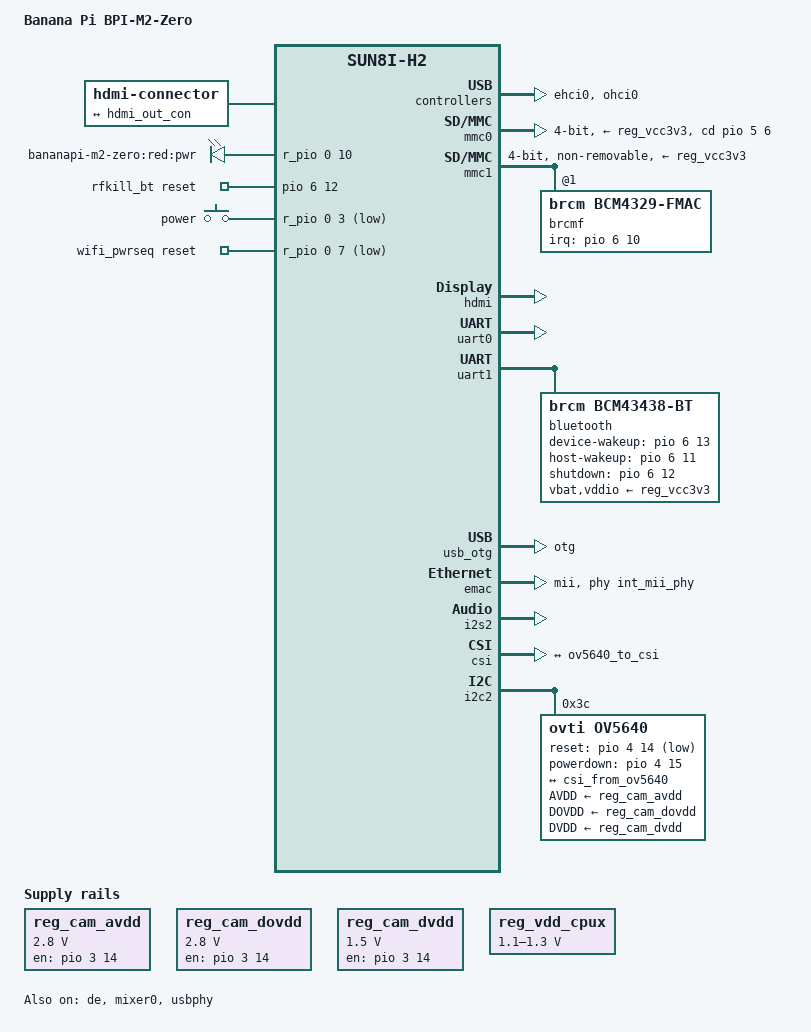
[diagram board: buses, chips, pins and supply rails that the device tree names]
// SPDX-License-Identifier: (GPL-2.0+ OR MIT)
/*
 * Copyright (C) 2017 Icenowy Zheng <icenowy@aosc.io>
 *
 * Based on sun8i-h3-bananapi-m2-plus.dts, which is:
 *   Copyright (C) 2016 Chen-Yu Tsai <wens@csie.org>
 */

/dts-v1/;
#include "sun8i-h3.dtsi"
#include "sunxi-common-regulators.dtsi"

#include <dt-bindings/gpio/gpio.h>
#include <dt-bindings/input/input.h>

/ {
	model = "Banana Pi BPI-M2-Zero";
	compatible = "sinovoip,bpi-m2-zero", "allwinner,sun8i-h2-plus";

	reg_cam_avdd: cam-avdd {
		compatible = "regulator-fixed";
		regulator-name = "csi-avdd";
		regulator-min-microvolt = <2800000>;
		regulator-max-microvolt = <2800000>;
		startup-delay-us = <200>; /* 50 us + board delays */
		enable-active-high;
		gpio = <&pio 3 14 GPIO_ACTIVE_HIGH>; /* PD14 */
	};

	reg_cam_dovdd: cam-dovdd {
		compatible = "regulator-fixed";
		regulator-name = "csi-dovdd";
		regulator-min-microvolt = <2800000>;
		regulator-max-microvolt = <2800000>;
		/*
		 * This regulator also powers the pull-ups for the I2C bus.
		 * For some reason, if this is turned off, subsequent use
		 * of the I2C bus, even when turned on, does not work.
		 */
		startup-delay-us = <200>; /* 50 us + board delays */
		regulator-always-on;
		enable-active-high;
		gpio = <&pio 3 14 GPIO_ACTIVE_HIGH>; /* PD14 */
	};

	reg_cam_dvdd: cam-dvdd {
		compatible = "regulator-fixed";
		regulator-name = "csi-dvdd";
		regulator-min-microvolt = <1500000>;
		regulator-max-microvolt = <1500000>;
		startup-delay-us = <200>; /* 50 us + board delays */
		enable-active-high;
		gpio = <&pio 3 14 GPIO_ACTIVE_HIGH>; /* PD14 */
	};

	aliases {
		serial0 = &uart0;
		serial1 = &uart1;
		ethernet0 = &emac;
	};

	chosen {
		stdout-path = "serial0:115200n8";
	};

	connector {
		compatible = "hdmi-connector";
		type = "a";

		port {
			hdmi_con_in: endpoint {
				remote-endpoint = <&hdmi_out_con>;
			};
		};
	};

	leds {
		compatible = "gpio-leds";

		pwr_led {
			label = "bananapi-m2-zero:red:pwr";
			gpios = <&r_pio 0 10 GPIO_ACTIVE_HIGH>; /* PL10 */
			linux,default-trigger = "heartbeat";
		};
	};

	rfkill_bt: rfkill_bt {
		compatible = "rfkill-gpio";
		pinctrl-names = "default";
		pinctrl-0 = <&bt_pwr_pin>;
		reset-gpios = <&pio 6 12 GPIO_ACTIVE_HIGH>; /* PG12 */
		clocks = <&osc32k>;
		clock-frequency = <32768>;
		rfkill-name = "sunxi-bt";
		rfkill-type = "bluetooth";
	};

	gpio_keys {
		compatible = "gpio-keys";

		sw4 {
			label = "power";
			linux,code = <BTN_0>;
			gpios = <&r_pio 0 3 GPIO_ACTIVE_LOW>;
		};
	};

	reg_vdd_cpux: vdd-cpux-regulator {
		compatible = "regulator-gpio";
		regulator-name = "vdd-cpux";
		regulator-type = "voltage";
		regulator-boot-on;
		regulator-always-on;
		regulator-min-microvolt = <1100000>;
		regulator-max-microvolt = <1300000>;
		regulator-ramp-delay = <50>; /* 4ms */

		gpios = <&r_pio 0 1 GPIO_ACTIVE_HIGH>; /* PL1 */
		enable-active-high;
		gpios-states = <0x1>;
		states = <1100000 0>, <1300000 1>;
	};

	wifi_pwrseq: wifi_pwrseq {
		compatible = "mmc-pwrseq-simple";
		reset-gpios = <&r_pio 0 7 GPIO_ACTIVE_LOW>; /* PL7 */
		clocks = <&rtc 1>;
		clock-names = "ext_clock";
	};
};

&pio {
	bt_pwr_pin: bt_pwr_pin {
		pins = "PG12";
		function = "gpio_out";
	};
};


&r_pio {
	wifi_en_pin: wifi_en_pin {
		pins = "PL7";
		function = "gpio_out";
	};
};

&cpu0 {
	cpu-supply = <&reg_vdd_cpux>;
};

&ehci0 {
	status = "okay";
};

&mmc0 {
	vmmc-supply = <&reg_vcc3v3>;
	bus-width = <4>;
	/*
	 * On the production batch of this board the card detect GPIO is
	 * high active (card inserted), although on the early samples it's
	 * low active.
	 */
	cd-gpios = <&pio 5 6 GPIO_ACTIVE_HIGH>; /* PF6 */
	status = "okay";
};

&mmc1 {
	vmmc-supply = <&reg_vcc3v3>;
	vqmmc-supply = <&reg_vcc3v3>;
	mmc-pwrseq = <&wifi_pwrseq>;
	bus-width = <4>;
	non-removable;
	status = "okay";

	brcmf: wifi@1 {
		reg = <1>;
		compatible = "brcm,bcm4329-fmac";
		interrupt-parent = <&pio>;
		interrupts = <6 10 IRQ_TYPE_LEVEL_LOW>; /* PG10 / EINT10 */
		interrupt-names = "host-wake";
	};
};

&de {
	status = "okay";
};

&hdmi {
	status = "okay";
};

&hdmi_out {
	hdmi_out_con: endpoint {
		remote-endpoint = <&hdmi_con_in>;
	};
};

&mixer0 {
	status = "okay";
};

&ohci0 {
	status = "okay";
};

&uart0 {
	pinctrl-names = "default";
	pinctrl-0 = <&uart0_pa_pins>;
	status = "okay";
};

&uart1 {
	pinctrl-names = "default";
	pinctrl-0 = <&uart1_pins>, <&uart1_rts_cts_pins>;
	uart-has-rtscts;
	status = "okay";

	bluetooth {
		compatible = "brcm,bcm43438-bt";
		clocks = <&rtc 1>;
		clock-names = "lpo";
		vbat-supply = <&reg_vcc3v3>;
		vddio-supply = <&reg_vcc3v3>;
		device-wakeup-gpios = <&pio 6 13 GPIO_ACTIVE_HIGH>; /* PG13 */
		host-wakeup-gpios = <&pio 6 11 GPIO_ACTIVE_HIGH>; /* PG11 */
		shutdown-gpios = <&pio 6 12 GPIO_ACTIVE_HIGH>; /* PG12 */
	};

};

&usb_otg {
	dr_mode = "otg";
	status = "okay";
};

&usbphy {
	usb0_id_det-gpios = <&r_pio 0 6 GPIO_ACTIVE_HIGH>; /* PL6 */
	/*
	 * There're two micro-USB connectors, one is power-only and another is
	 * OTG. The Vbus of these two connectors are connected together, so
	 * the external USB device will be powered just by the power input
	 * from the power-only USB port.
	 */
	status = "okay";
};


&emac {
	status = "okay";
	phy-handle = <&int_mii_phy>;
	phy-mode = "mii";
	allwinner,leds-active-low;
};

&i2s2 {
	status = "okay";
};

&csi {
	status = "okay";

	port {
		/* Parallel bus endpoint */
		csi_from_ov5640: endpoint {
			remote-endpoint = <&ov5640_to_csi>;
			bus-width = <8>;
			hsync-active = <1>; /* Active high */
			vsync-active = <0>; /* Active low */
			data-active = <1>;  /* Active high */
			pclk-sample = <1>;  /* Rising */
		};
	};
};

&i2c2 {
	status = "okay";

	ov5640: camera@3c {
		compatible = "ovti,ov5640";
		reg = <0x3c>;
		pinctrl-names = "default";
		pinctrl-0 = <&csi_mclk_pin>;
		clocks = <&ccu CLK_CSI_MCLK>;
		clock-names = "xclk";

		reset-gpios = <&pio 4 14 GPIO_ACTIVE_LOW>; /* PE14 */
		powerdown-gpios = <&pio 4 15 GPIO_ACTIVE_HIGH>; /* PE15 */
		AVDD-supply = <&reg_cam_avdd>;
		DOVDD-supply = <&reg_cam_dovdd>;
		DVDD-supply = <&reg_cam_dvdd>;

		port {
			ov5640_to_csi: endpoint {
				remote-endpoint = <&csi_from_ov5640>;
				bus-width = <8>;
				data-shift = <2>;
				hsync-active = <1>; /* Active high */
				vsync-active = <0>; /* Active low */
				data-active = <1>;  /* Active high */
				pclk-sample = <1>;  /* Rising */
			};
		};
	};
};

&pio {
	csi_mclk_pin: csi-mclk {
		pins = "PE1";
		function = "csi";
	};
};
